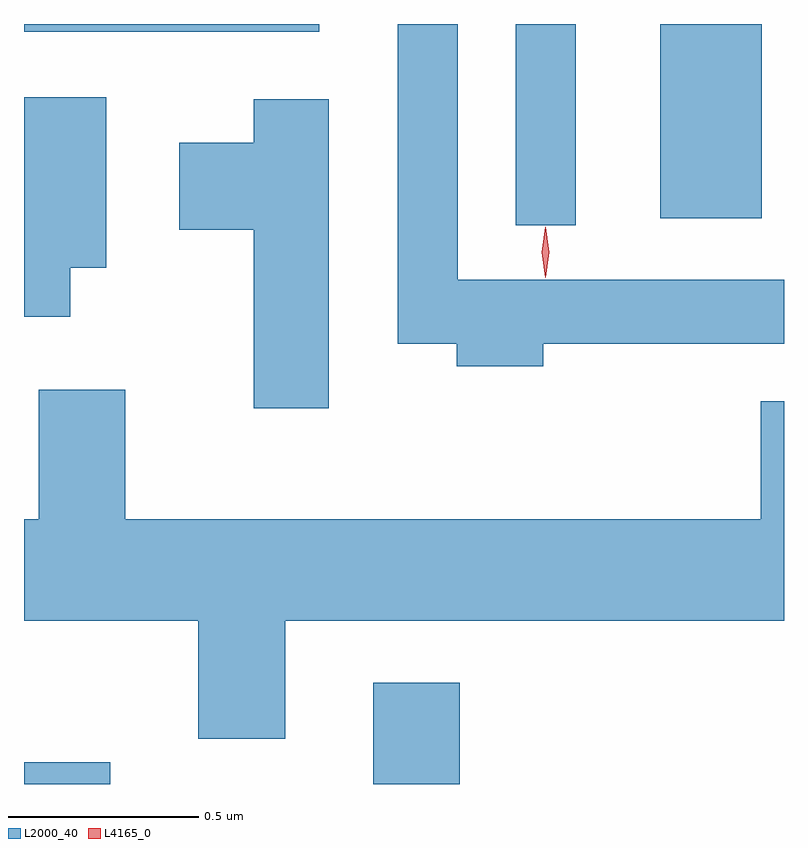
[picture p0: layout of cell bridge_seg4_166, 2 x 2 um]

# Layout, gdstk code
import gdstk
lib = gdstk.Library(unit=1e-6, precision=1e-09)
def R(c, l, rs):  # rectangles x0, y0, x1, y1
    for r in rs: c.add(gdstk.rectangle(r[:2], r[2:], *l))
def P(c, l, *ps):  # polygons
    for p in ps: c.add(gdstk.Polygon(p, *l))
L2000_40 = (2000, 40)
L4165_0 = (4165, 0)

bridge_seg4_166 = lib.new_cell('bridge_seg4_166')
R(bridge_seg4_166, L2000_40, [(951.732,1316.507,951.959,1316.564), (952.651,1316.507,952.879,1316.774), (953.026,1317.978,953.184,1318.507), (953.406,1317.996,953.674,1318.507), (951.732,1318.486,952.509,1318.507)])
P(bridge_seg4_166, L2000_40, [(953.099,1317.666),(953.732,1317.666),(953.732,1317.834),(952.874,1317.834),(952.874,1318.507),(952.716,1318.507),(952.716,1317.666),(952.871,1317.666),(952.871,1317.606),(953.099,1317.606)],
  [(951.854,1317.866),(951.949,1317.866),(951.949,1318.314),(951.732,1318.314),(951.732,1317.736),(951.854,1317.736)],
  [(952.534,1318.309),(952.336,1318.309),(952.336,1318.194),(952.141,1318.194),(952.141,1317.966),(952.336,1317.966),(952.336,1317.496),(952.534,1317.496)],
  [(952.419,1316.936),(953.732,1316.936),(953.732,1317.514),(953.671,1317.514),(953.671,1317.204),(951.999,1317.204),(951.999,1317.544),(951.771,1317.544),(951.771,1317.204),(951.732,1317.204),(951.732,1316.936),(952.191,1316.936),(952.191,1316.626),(952.419,1316.626)])
P(bridge_seg4_166, L4165_0, [(953.104,1317.839),(953.104,1317.84),(953.095,1317.906),(953.104,1317.972),(953.105,1317.973),(953.105,1317.972),(953.114,1317.906),(953.105,1317.84)])

lib.write_gds('bridge_seg4_166.gds')
